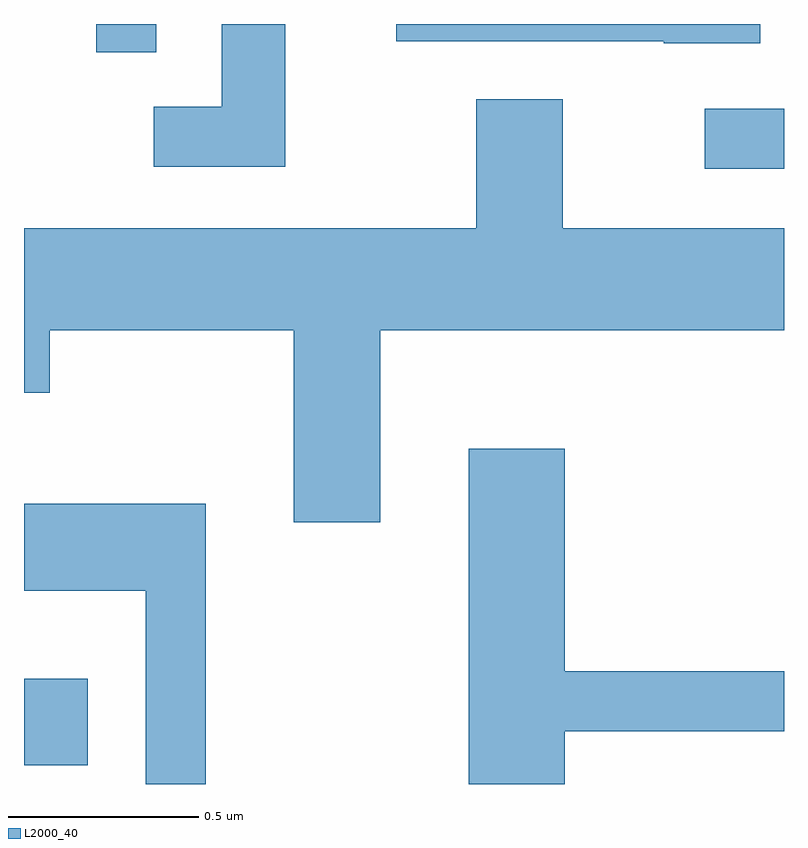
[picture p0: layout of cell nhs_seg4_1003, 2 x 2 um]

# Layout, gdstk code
import gdstk
lib = gdstk.Library(unit=1e-6, precision=1e-09)
def R(c, l, rs):  # rectangles x0, y0, x1, y1
    for r in rs: c.add(gdstk.rectangle(r[:2], r[2:], *l))
def P(c, l, *ps):  # polygons
    for p in ps: c.add(gdstk.Polygon(p, *l))
L2000_40 = (2000, 40)

nhs_seg4_1003 = lib.new_cell('nhs_seg4_1003')
R(nhs_seg4_1003, L2000_40, [(192.611,1298.031,192.779,1298.259), (194.403,1299.601,194.611,1299.759), (192.801,1299.908,192.959,1299.982)])
P(nhs_seg4_1003, L2000_40, [(194.549,1299.982),(193.591,1299.982),(193.591,1299.936),(194.295,1299.936),(194.295,1299.931),(194.549,1299.931)],
  [(193.299,1299.982),(193.131,1299.982),(193.131,1299.764),(192.953,1299.764),(192.953,1299.606),(193.299,1299.606)],
  [(193.549,1299.176),(194.611,1299.176),(194.611,1299.444),(194.029,1299.444),(194.029,1299.784),(193.801,1299.784),(193.801,1299.444),(192.611,1299.444),(192.611,1299.011),(192.679,1299.011),(192.679,1299.176),(193.321,1299.176),(193.321,1298.671),(193.549,1298.671)],
  [(194.034,1298.121),(194.611,1298.121),(194.611,1298.279),(194.034,1298.279),(194.034,1298.864),(193.781,1298.864),(193.781,1297.982),(194.034,1297.982)],
  [(193.089,1298.719),(192.611,1298.719),(192.611,1298.491),(192.931,1298.491),(192.931,1297.982),(193.089,1297.982)])

lib.write_gds('nhs_seg4_1003.gds')
